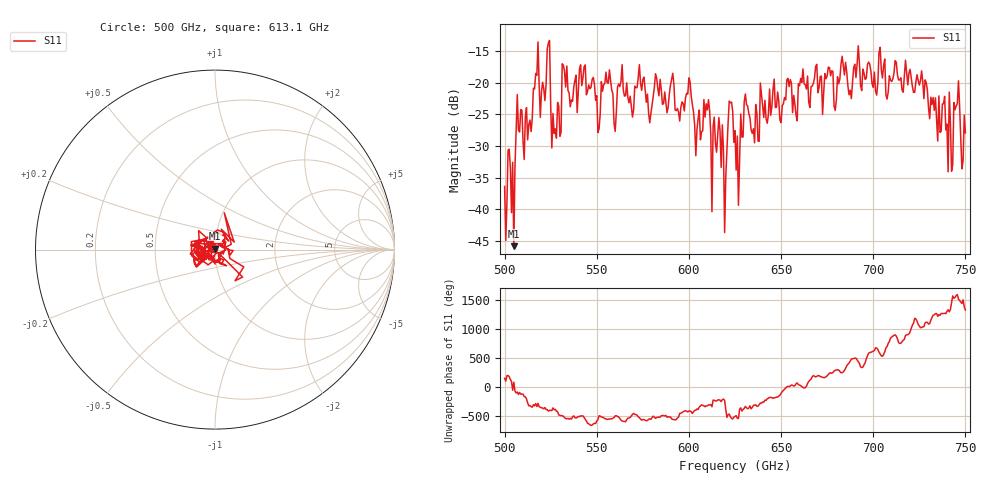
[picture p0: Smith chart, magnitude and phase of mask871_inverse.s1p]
!Created with skrf (http://scikit-rf.org).
# GHz S MA R 50.0
!freq magS11 angS11
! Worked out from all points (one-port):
!   401 points, 500 GHz to 750 GHz, reference 50 ohm
!   lowest |S11| = -45.9 dB at 505 GHz (marker M1), VSWR 1.01, Z = 50.1 + j0.5 ohm
!   |S11| at or under -10 dB: start of sweep to end of sweep
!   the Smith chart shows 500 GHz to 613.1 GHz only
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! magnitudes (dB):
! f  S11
! 500 GHz  -36.4
! 505 GHz  -45.9
! 507.5 GHz  -27.4
! 513.8 GHz  -25.9
! 516.9 GHz  -18.5
! 520.6 GHz  -19.9
! 523.8 GHz  -13.7
! 526.9 GHz  -28.0
! 531.2 GHz  -17.0
! 542.5 GHz  -19.2
! 550.6 GHz  -27.9
! 562.5 GHz  -20.6
! 579.4 GHz  -24.8
! 590.6 GHz  -19.4
! 593.8 GHz  -24.0
! 609.4 GHz  -23.3
! 618.8 GHz  -30.7
! 622.5 GHz  -23.2
! 625 GHz  -27.6
! 631.2 GHz  -23.5
! 656.2 GHz  -24.7
! 680 GHz  -22.7
! 683.8 GHz  -17.3
! 687.5 GHz  -21.2
! 718.8 GHz  -20.3
! 741.9 GHz  -26.3
! 745 GHz  -23.6
! 750 GHz  -27.9
